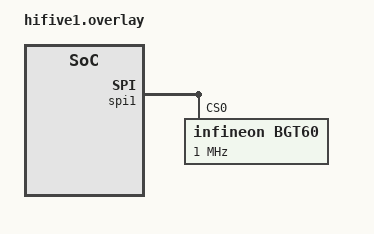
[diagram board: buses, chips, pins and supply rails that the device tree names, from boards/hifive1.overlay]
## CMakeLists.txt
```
# SPDX-License-Identifier: Apache-2.0

cmake_minimum_required(VERSION 3.20.0)

find_package(Zephyr REQUIRED HINTS $ENV{ZEPHYR_BASE})
project(bgt60_demo)

target_sources(app PRIVATE src/main.c)
```

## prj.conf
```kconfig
CONFIG_PRINTK=y
CONFIG_LOG=y
CONFIG_LOG_PRINTK=y
CONFIG_LOG_MODE_MINIMAL=y
CONFIG_DEBUG=y
CONFIG_SENSOR=y
CONFIG_BGT60_RADAR=y
CONFIG_BGT60_RADAR_VERIFY_WRITES=y
CONFIG_BGT60_RADAR_FIFO_POLL_TIMEOUT_MS=10000
```

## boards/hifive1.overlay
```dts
&spi1 {
    status = "okay";

    bgt60: bgt60@0 {
        compatible = "infineon,bgt60";
        reg = <0>;
        spi-max-frequency = <1000000>;
    };
};
```

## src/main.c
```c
#include <zephyr/kernel.h>
#include <zephyr/device.h>
#include <zephyr/drivers/sensor.h>
#include <zephyr/rtio/rtio.h>

#include <zephyr/drivers/sensor/bgt60.h>

const struct device *const dev = DEVICE_DT_GET_ANY(infineon_bgt60);

SENSOR_DT_READ_IODEV(iodev, DT_COMPAT_GET_ANY_STATUS_OKAY(infineon_bgt60),
		{SENSOR_CHAN_RADAR_CHIRP, 0});

RTIO_DEFINE(ctx, 1, 1);

#define BLOCK_BYTES		3 // 3 bytes per fifo block
#define BUF_SIZE		BLOCK_BYTES * CONFIG_BGT60_RADAR_SENSOR_DEFAULT_FIFO_BLOCKS

uint8_t buf[BUF_SIZE];

int main(void)
{
	while (1) {
		printk("\nrequesting radar data\n");
		const int rc = sensor_read(&iodev, &ctx, buf, sizeof(buf));
		if (rc != 0) {
			printk("sensor_read() failed %d\n", rc);
			k_sleep(K_SECONDS(1));
			continue;
		}

		/* due to limited ram on the hifive1, print the bytes received for offline processing */
		for (size_t i = 0; i < BUF_SIZE; i++) {
			printk("%02X ", buf[i]);
		}
	}

	return 0;
}
```
